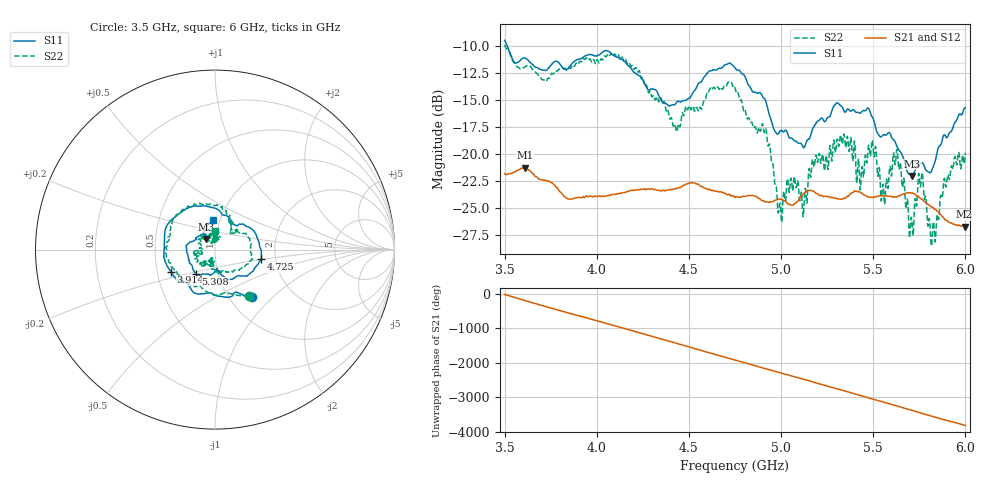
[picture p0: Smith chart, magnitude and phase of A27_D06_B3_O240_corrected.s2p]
! Created with skrf 1.9.0 (http://scikit-rf.org).
# Hz S RI R 50.0
!freq ReS11 ImS11 ReS21 ImS21 ReS12 ImS12 ReS22 ImS22
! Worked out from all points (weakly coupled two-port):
!   1601 points, 3.5 GHz to 6 GHz, reference 50 ohm
!   highest |S21| = -21.29 dB at 3.609 GHz (marker M1); lowest = -26.7 dB at 5.995 GHz (marker M2)
!   lowest |S11| = -22.0 dB at 5.713 GHz (marker M3), VSWR 1.17, Z = 44.8 + j5.38 ohm
!   |S11| at or under -10 dB: 3.514 GHz to end of sweep
!   |S22| runs from -28.5 to -9.9 dB; largest |S21 - S12| = 0.00099
!   S11 on the Smith chart (normalised r, x): 3.5 GHz: 1.27, -0.75; 3.914 GHz: 0.59, -0.16; 4.725 GHz: 1.68, -0.19; 5.308 GHz: 0.78, -0.22; 6 GHz: 0.93, +0.31
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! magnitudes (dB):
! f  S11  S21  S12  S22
! 3.5 GHz  -9.5  -21.8  -21.8  -9.9
! 3.609 GHz  -11.2  -21.3  -21.3  -12.0
! 3.914 GHz  -11.2  -24.0  -24.0  -11.5
! 3.917 GHz  -11.2  -24.0  -24.0  -11.5
! 4.108 GHz  -11.1  -23.7  -23.6  -11.1
! 4.334 GHz  -14.5  -23.4  -23.3  -15.1
! 4.441 GHz  -15.1  -23.2  -23.1  -17.3
! 4.725 GHz  -11.6  -23.8  -23.7  -13.4
! 4.75 GHz  -12.1  -24.0  -23.9  -13.9
! 4.911 GHz  -14.9  -24.4  -24.3  -18.0
! 4.994 GHz  -17.9  -24.2  -24.1  -24.6
! 5.044 GHz  -18.5  -24.7  -24.6  -23.6
! 5.128 GHz  -19.3  -23.6  -23.6  -23.6
! 5.167 GHz  -17.9  -23.4  -23.4  -21.0
! 5.308 GHz  -15.3  -24.2  -24.1  -18.8
! 5.584 GHz  -18.0  -23.9  -23.9  -22.4
! 5.636 GHz  -19.6  -23.9  -23.8  -20.9
! 5.713 GHz  -22.0  -23.6  -23.6  -26.9
! 5.756 GHz  -20.9  -24.1  -24.1  -23.0
! 5.827 GHz  -21.1  -25.0  -24.9  -26.3
! 5.995 GHz  -15.8  -26.7  -26.6  -20.8
! 6 GHz  -15.8  -26.7  -26.6  -19.9
